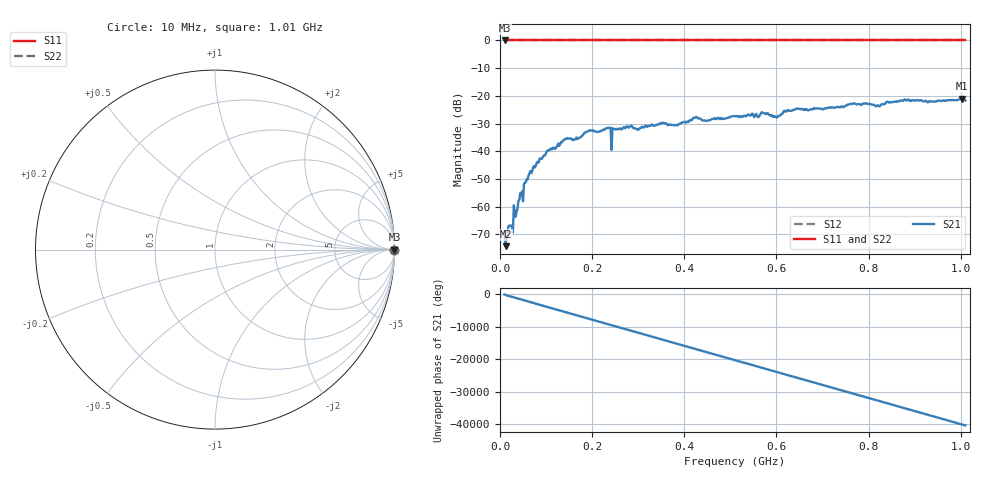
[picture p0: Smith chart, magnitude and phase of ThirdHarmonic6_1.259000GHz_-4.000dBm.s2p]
! 8/16/2025 1:31:11 PM
! C:\ANRITSUVNA\TEMP\TEMP.S2P
! CHANNEL.1
! TR.MEASUREMENT
! RAW.DATA
! RF.CORRECTION.OFF
! AVERAGING.OFF
! IF.BANDWIDTH: 5KHZ
! SWEEPTYPE:  FREQ.SWEEP(Linear)
! Reference Plane Port Info
! PORT:  PORT1  PORT2
! DISTANCE:  0  m  0  m
! TIME:  0  s  0  s
! PHASE.OFFSET:  0  deg.  0  deg.
! LOSS:  0  dB  0  dB
! REF.LOSS:  0  dB  0  dB
! REF.FREQ:  0  Hz  0  Hz
! Power Info
! POWER:  -20  dBm  -20  dBm
! EFF.POWER:  -20  dBm  -20  dBm
! SOURCE.ATTEN:  0  dB  0  dB
! TEST.ATTEN:  0  dB  0  dB
# GHZ S RI R 50.0
! FREQ.GHZ  S11RE  S11IM  S21RE  S21IM  S12RE  S12IM  S22RE  S22IM
!; PortSelection: Port_12
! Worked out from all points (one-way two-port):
!   501 points, 10 MHz to 1.01 GHz, reference 50 ohm
!   highest |S21| = -21.06 dB at 1.002 GHz (marker M1); lowest = -74.3 dB at 12 MHz (marker M2)
!   lowest |S11| = 0.0 dB at 10 MHz (marker M3)
!   |S11| at or under -10 dB: nowhere
!   |S22| runs from 0.0 to 0.0 dB; largest |S21 - S12| = 1.1
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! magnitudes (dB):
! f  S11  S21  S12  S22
! 10 MHz  0.0  -69.4  0.0  0.0
! 12 MHz  0.0  -74.3  0.0  0.0
! 24 MHz  0.0  -66.8  0.0  0.0
! 56 MHz  0.0  -51.2  0.0  0.0
! 84 MHz  0.0  -44.1  0.0  0.0
! 142 MHz  0.0  -35.7  0.0  0.0
! 178 MHz  0.0  -34.4  0.0  0.0
! 198 MHz  0.0  -32.5  0.0  0.0
! 236 MHz  0.0  -31.5  0.0  0.0
! 238 MHz  0.0  -31.5  0.0  0.0
! 246 MHz  0.0  -32.0  0.0  0.0
! 248 MHz  0.0  -31.9  0.0  0.0
! 344 MHz  0.0  -30.3  0.0  0.0
! 382 MHz  0.0  -30.5  0.0  0.0
! 510 MHz  0.0  -27.3  0.0  0.0
! 572 MHz  0.0  -26.2  0.0  0.0
! 598 MHz  0.0  -27.6  0.0  0.0
! 620 MHz  0.0  -25.7  0.0  0.0
! 678 MHz  0.0  -24.9  0.0  0.0
! 844 MHz  0.0  -22.5  0.0  0.0
! 1.002 GHz  0.0  -21.1  0.0  0.0
! 1.01 GHz  0.0  -21.7  0.0  0.0
